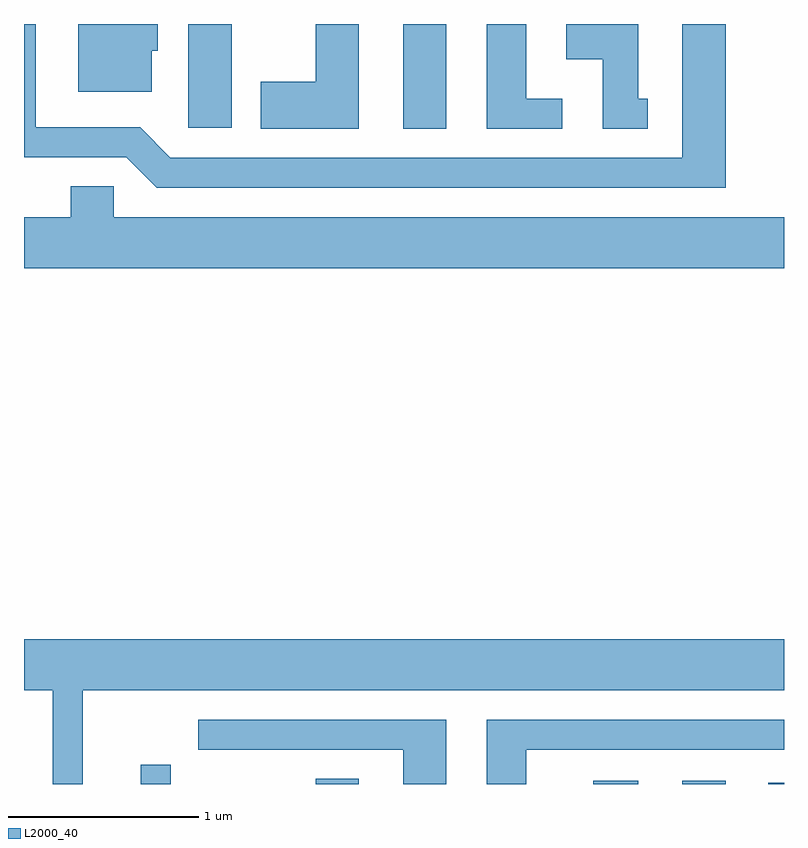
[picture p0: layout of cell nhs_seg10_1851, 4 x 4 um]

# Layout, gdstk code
import gdstk
lib = gdstk.Library(unit=1e-6, precision=1e-09)
def R(c, l, rs):  # rectangles x0, y0, x1, y1
    for r in rs: c.add(gdstk.rectangle(r[:2], r[2:], *l))
def P(c, l, *ps):  # polygons
    for p in ps: c.add(gdstk.Polygon(p, *l))
L2000_40 = (2000, 40)

nhs_seg10_1851 = lib.new_cell('nhs_seg10_1851')
R(nhs_seg10_1851, L2000_40, [(240.226,2124.522,240.384,2124.623), (241.146,2124.522,241.374,2124.549), (242.608,2124.522,242.844,2124.539), (243.076,2124.522,243.304,2124.539), (243.528,2124.522,243.611,2124.529), (241.606,2127.971,241.834,2128.522), (240.476,2127.976,240.704,2128.522)])
P(nhs_seg10_1851, L2000_40, [(243.304,2128.522),(243.076,2128.522),(243.076,2127.819),(240.382,2127.819),(240.222,2127.979),(239.674,2127.979),(239.674,2128.522),(239.611,2128.522),(239.611,2127.821),(240.149,2127.821),(240.309,2127.661),(243.304,2127.661)],
  [(242.893,2128.129),(242.844,2128.129),(242.844,2128.522),(242.466,2128.522),(242.466,2128.336),(242.656,2128.336),(242.656,2127.971),(242.893,2127.971)],
  [(242.443,2128.129),(242.254,2128.129),(242.254,2128.522),(242.046,2128.522),(242.046,2127.971),(242.443,2127.971)],
  [(240.284,2128.381),(240.314,2128.381),(240.314,2128.522),(239.896,2128.522),(239.896,2128.166),(240.284,2128.166)],
  [(241.374,2128.522),(241.146,2128.522),(241.146,2128.219),(240.856,2128.219),(240.856,2127.971),(241.374,2127.971)],
  [(243.611,2127.504),(240.084,2127.504),(240.084,2127.669),(239.856,2127.669),(239.856,2127.504),(239.611,2127.504),(239.611,2127.236),(243.611,2127.236)],
  [(239.919,2125.016),(243.611,2125.016),(243.611,2125.284),(239.611,2125.284),(239.611,2125.016),(239.761,2125.016),(239.761,2124.522),(239.919,2124.522)],
  [(242.254,2124.701),(243.611,2124.701),(243.611,2124.859),(242.046,2124.859),(242.046,2124.522),(242.254,2124.522)],
  [(241.834,2124.859),(240.528,2124.859),(240.528,2124.701),(241.606,2124.701),(241.606,2124.522),(241.834,2124.522)])

lib.write_gds('nhs_seg10_1851.gds')
